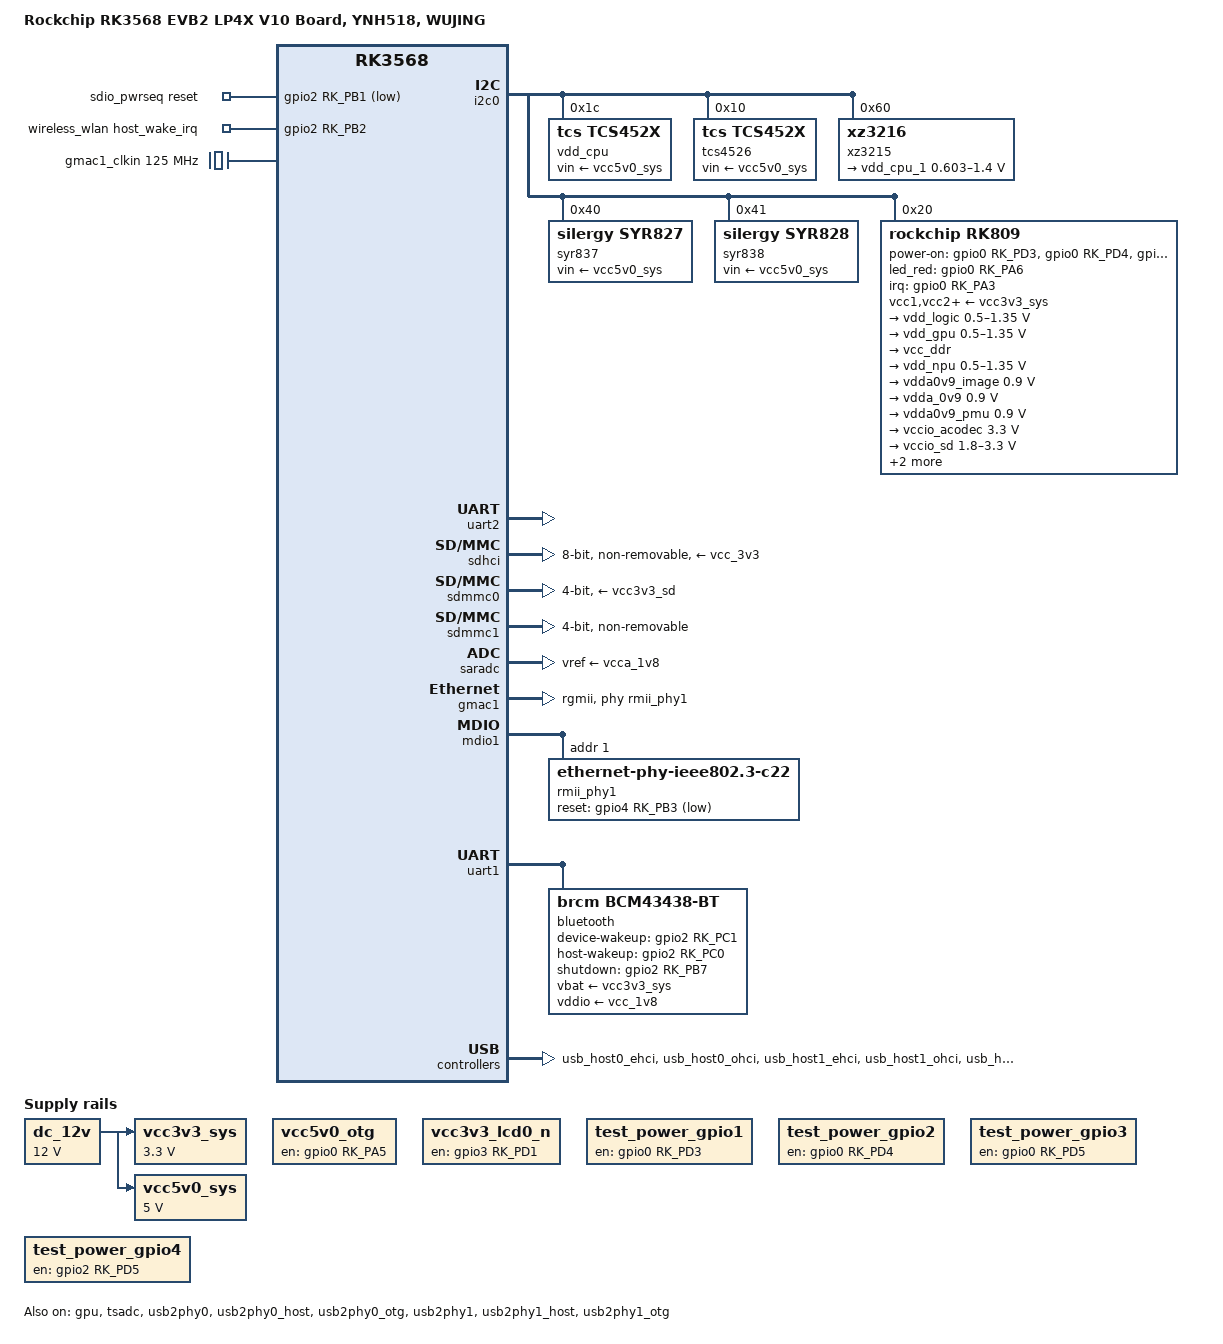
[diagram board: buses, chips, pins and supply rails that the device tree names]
// SPDX-License-Identifier: (GPL-2.0+ OR MIT)

/dts-v1/;
#include <dt-bindings/gpio/gpio.h>
#include <dt-bindings/leds/common.h>
#include <dt-bindings/pinctrl/rockchip.h>
#ifdef DTS_NO_LEGACY
#include <dt-bindings/soc/rockchip,vop2.h>
#else
#include <dt-bindings/display/rockchip_vop.h>
#endif
#include "rk3568.dtsi"

/ {
	compatible = "radxa,rk3568-evb2-lp4x-v10,wujing", "rockchip,rk3568";
	serial-number = "868777053653808";
	model = "Rockchip RK3568 EVB2 LP4X V10 Board, YNH518, WUJING";
	chosen {
		bootargs = "earlycon=uart8250,mmio32,0xfe660000 console=ttyFIQ0 coherent_pool=1m";
		stdout-path = "serial2:115200n8";
	};
	aliases {
		ethernet0 = &gmac1;
		mmc0 = &sdhci;
		mmc1 = &sdmmc0;
		mmc2 = &sdmmc1;
	};
	dc_12v: dc-12v {
		compatible = "regulator-fixed";
		regulator-name = "dc_12v";
		regulator-always-on;
		regulator-boot-on;
		regulator-min-microvolt = <0xb71b00>;
		regulator-max-microvolt = <0xb71b00>;
	};
	vcc3v3_sys: vcc3v3-sys {
		compatible = "regulator-fixed";
		regulator-name = "vcc3v3_sys";
		regulator-always-on;
		regulator-boot-on;
		regulator-min-microvolt = <0x325aa0>;
		regulator-max-microvolt = <0x325aa0>;
		vin-supply = <&dc_12v>;
	};
	vcc5v0_sys:vcc5v0-sys {
		compatible = "regulator-fixed";
		regulator-name = "vcc5v0_sys";
		regulator-always-on;
		regulator-boot-on;
		regulator-min-microvolt = <0x4c4b40>;
		regulator-max-microvolt = <0x4c4b40>;
		vin-supply = <&dc_12v>;
	};
	vcc5v0_otg: vcc5v0-otg-regulator {
		compatible = "regulator-fixed";
		enable-active-high;
		gpio = <&gpio0 RK_PA5 GPIO_ACTIVE_HIGH>;
		pinctrl-names = "default";
		pinctrl-0 = <&vcc5v0_otg_en>;
		regulator-name = "vcc5v0_otg";
	};
	vcc3v3_lcd0_n: vcc3v3-lcd0-n {
		compatible = "regulator-fixed";
		regulator-name = "vcc3v3_lcd0_n";
		regulator-boot-on;
		gpio = <&gpio3 RK_PD1 GPIO_ACTIVE_HIGH>;
		enable-active-high;

		regulator-state-mem {
			regulator-off-in-suspend;
		};
	};
	//这里可能需要转换,测试
	
	test_power_gpio1: test-power-gpio1 {
		compatible = "regulator-fixed";
		regulator-name = "test_power_gpio1";
		regulator-boot-on;
		regulator-always-on;
		pinctrl-0 = <&test_power1>;
		gpios = <&gpio0 RK_PD3 GPIO_ACTIVE_HIGH>;
		enable-active-high;

	};
	//这里可能需要转换,测试
	
	test_power_gpio2: test-power-gpio2 {
		compatible = "regulator-fixed";
		regulator-name = "test_power_gpio2";
		regulator-boot-on;
		regulator-always-on;
		pinctrl-0 = <&test_power2>;
		gpio = <&gpio0 RK_PD4 GPIO_ACTIVE_HIGH>;
		enable-active-high;
	};
	//这里可能需要转换,测试
	
	test_power_gpio3: test-power-gpio3 {
		compatible = "regulator-fixed";
		regulator-name = "test_power_gpio3";
		regulator-boot-on;
		regulator-always-on;
		pinctrl-0 = <&test_power3>;
		gpio = <&gpio0 RK_PD5 GPIO_ACTIVE_HIGH>;
		enable-active-high;
	};
	//这里可能需要转换,测试
	test_power_gpio4: test-power-gpio4 {
		compatible = "regulator-fixed";
		regulator-name = "test_power_gpio4";
		regulator-boot-on;
		regulator-always-on;
		pinctrl-0 = <&test_power4>;
		gpio = <&gpio2 RK_PD5 GPIO_ACTIVE_HIGH>;
		enable-active-high;
	};
	//这里可能需要转换
	//power-on-gpios = <&gpio0 RK_PD3 GPIO_ACTIVE_HIGH &gpio0 RK_PD4 GPIO_ACTIVE_HIGH &gpio0 RK_PD5 GPIO_ACTIVE_HIGH &gpio2 RK_PD5 GPIO_ACTIVE_HIGH>;
	//led_red_gpio = <&gpio0 RK_PA6 GPIO_ACTIVE_HIGH>;
	
	sdio_pwrseq: sdio-pwrseq {
		compatible = "mmc-pwrseq-simple";
		clocks = <&rk809 0x01>;
		clock-names = "ext_clock";
		pinctrl-names = "default";
		pinctrl-0 = <&wifi_enable_h>;
		post-power-on-delay-ms = <0xc8>;
		reset-gpios = <&gpio2 RK_PB1 GPIO_ACTIVE_LOW>;
	};

	wireless_wlan: wireless-wlan {
		compatible = "wlan-platdata";
		rockchip,grf = <&grf>;
		wifi_chip_type = "ap6398s";
		status = "okay";
		pinctrl-names = "default";
		pinctrl-0 = <&wifi_host_wake_irq>;
		WIFI,host_wake_irq = <&gpio2 RK_PB2 GPIO_ACTIVE_HIGH>;
	};
	/*
	wireless_bluetooth: wireless-bluetooth {
		compatible = "bluetooth-platdata";
		clocks = <&rk809 0x01>;
		clock-names = "ext_clock";
		uart_rts_gpios = <&gpio2 RK_PB5 GPIO_ACTIVE_LOW>;
		pinctrl-names = "default\0rts_gpio";
		pinctrl-0 = <&uart1m0_rtsn>;
		pinctrl-1 = <&uart1_gpios>;
		BT,reset_gpio = <&gpio2 RK_PB7 GPIO_ACTIVE_HIGH>;
		BT,wake_gpio = <&gpio2 RK_PC1 GPIO_ACTIVE_HIGH>;
		BT,wake_host_irq = <&gpio2 RK_PC0 GPIO_ACTIVE_HIGH>;
		status = "okay";
	};*/
	gmac1_clkin: external-gmac1-clock {
		compatible = "fixed-clock";
		clock-frequency = <125000000>;
		clock-output-names = "gmac1_clkin";
		#clock-cells = <0>;
	};
	gmac1_xpcsclk: xpcs-gmac1-clock {
		compatible = "fixed-clock";
		clock-frequency = <125000000>;
		clock-output-names = "clk_gmac1_xpcs_mii";
		#clock-cells = <0>;
	};
};
&pinctrl {
	usb {
		vcc5v0_otg_en: vcc5v0-otg-en {
			rockchip,pins = <0 RK_PA5 RK_FUNC_GPIO &pcfg_pull_none>;
		};
	};
	sdio-pwrseq {
		wifi_enable_h:wifi-enable-h {
			rockchip,pins = <2 RK_PB1 RK_FUNC_GPIO &pcfg_pull_none>;
		};
	};
	wireless-wlan {
		wifi_host_wake_irq: wifi-host-wake-irq {
			rockchip,pins = <2 RK_PB2 RK_FUNC_GPIO &pcfg_pull_down>;
		};
	};
	wireless-bluetooth {
		uart8_gpios: uart8-gpios {
			rockchip,pins = <2 RK_PB1 RK_FUNC_GPIO &pcfg_pull_none>;
		};
		uart1_gpios: uart1-gpios {
			rockchip,pins = <2 RK_PB5 RK_FUNC_GPIO &pcfg_pull_none>;
		};
	};
	bt {
		bt_enable: bt-enable {
			rockchip,pins = <2 RK_PB7 RK_FUNC_GPIO &pcfg_pull_none>;
		};

		bt_host_wake: bt-host-wake {
			rockchip,pins = <2 RK_PC0 RK_FUNC_GPIO &pcfg_pull_down>;
		};

		bt_wake: bt-wake {
			rockchip,pins = <2 RK_PC1 RK_FUNC_GPIO &pcfg_pull_none>;
		};
	};
	pmic {
		pmic_int: pmic_int {
			rockchip,pins = <0 RK_PA3 RK_FUNC_GPIO &pcfg_pull_up>;
		};
		soc_slppin_gpio: soc_slppin_gpio {
			rockchip,pins = <0 RK_PA2 0x00 &pcfg_output_low>;
		};
		soc_slppin_slp: soc_slppin_slp {
			rockchip,pins = <0 RK_PA2 0x01 &pcfg_pull_none>;
		};
		soc_slppin_rst: soc_slppin_rst {
			rockchip,pins = <0 RK_PA2 0x02 &pcfg_pull_none>;
		};
	};
	ethernet {
		eth_phy_rst: eth_phy_rst {
			rockchip,pins = <4 RK_PB3 RK_FUNC_GPIO &pcfg_pull_none>;
		};
	};
	//power-on-gpios = <&gpio0 RK_PD3 GPIO_ACTIVE_HIGH &gpio0 RK_PD4 GPIO_ACTIVE_HIGH &gpio0 RK_PD5 GPIO_ACTIVE_HIGH &gpio2 RK_PD5 GPIO_ACTIVE_HIGH>;
	power_on_test: power-on-test {
		test_power1: test-power1 {
			rockchip,pins = <0 RK_PD3 RK_FUNC_GPIO &pcfg_pull_none>;
		};
		test_power2: test-power2 {
			rockchip,pins = <0 RK_PD4 RK_FUNC_GPIO &pcfg_pull_none>;
		};
		test_power3: test-power3 {
			rockchip,pins = <0 RK_PD5 RK_FUNC_GPIO &pcfg_pull_none>;
		};
		test_power4: test-power4 {
			rockchip,pins = <2 RK_PD5 RK_FUNC_GPIO &pcfg_pull_none>;
		};
	};
};

&cpu0 {
	cpu-supply = <&vdd_cpu>;
};

&cpu1 {
	cpu-supply = <&vdd_cpu>;
};

&cpu2 {
	cpu-supply = <&vdd_cpu>;
};

&cpu3 {
	cpu-supply = <&vdd_cpu>;
};

&display_subsystem {
	status = "disabled";
};
&gpu {
	mali-supply = <&vdd_gpu>;
	status = "okay";
};
&i2c0 {
	status = "okay";
		vdd_cpu: tcs4525: tcs4525@1c {
			compatible = "tcs,tcs452x";
			reg = <0x1c>;
			vin-supply = <&vcc5v0_sys>;
			regulator-compatible = "fan53555-reg";
			regulator-name = "vdd_cpu";
			regulator-min-microvolt = <0xadf34>;
			regulator-max-microvolt = <0x1535b0>;
			regulator-init-microvolt = <0xdbba0>;
			regulator-ramp-delay = <0x8fc>;
			fcs,suspend-voltage-selector = <0x01>;
			regulator-boot-on;
			regulator-always-on;

			regulator-state-mem {
				regulator-off-in-suspend;
			};
		};

		tcs4526: tcs4526@10 {
			compatible = "tcs,tcs452x";
			reg = <0x10>;
			vin-supply = <&vcc5v0_sys>;
			regulator-compatible = "fan53555-reg";
			regulator-name = "vdd_cpu";
			regulator-min-microvolt = <0xadf34>;
			regulator-max-microvolt = <0x1535b0>;
			regulator-init-microvolt = <0xdbba0>;
			regulator-ramp-delay = <0x8fc>;
			fcs,suspend-voltage-selector = <0x00>;
			regulator-initial-mode = <0x02>;
			regulator-boot-on;
			regulator-always-on;

			regulator-state-mem {
				regulator-on-in-suspend;
				regulator-suspend-microvolt = <0x10c8e0>;
				regulator-changeable-in-suspend;
			};
		};

		xz3215: xz3215@60 {
			compatible = "xz3216";
			reg = <0x60>;

			regulators {
				#address-cells = <0x01>;
				#size-cells = <0x00>;

				vdd_cpu_1: regulator@0 {
					reg = <0x00>;
					vin-supply = <&vcc5v0_sys>;
					regulator-compatible = "xz_dcdc1";
					regulator-name = "vdd_cpu";
					regulator-min-microvolt = <0x93378>;
					regulator-max-microvolt = <0x155cc0>;
					regulator-ramp-delay = <0x3e8>;
					regulator-always-on;
					regulator-boot-on;
					fcs,suspend-voltage-selector = <0x00>;
					regulator-initial-state = <0x03>;

					regulator-state-mem {
						regulator-on-in-suspend;
						regulator-suspend-microvolt = <0x10c8e0>;
						regulator-changeable-in-suspend;
					};
				};
			};
		};

		syr837: syr837@40 {
			compatible = "silergy,syr827";
			reg = <0x40>;
			vin-supply = <&vcc5v0_sys>;
			regulator-compatible = "fan53555-reg";
			regulator-name = "vdd_cpu";
			regulator-min-microvolt = <0xadf34>;
			regulator-max-microvolt = <0x16e360>;
			regulator-init-microvolt = <0xdbba0>;
			regulator-ramp-delay = <0x3e8>;
			fcs,suspend-voltage-selector = <0x00>;
			regulator-initial-state = <0x03>;
			regulator-boot-on;
			regulator-always-on;

			regulator-state-mem {
				regulator-on-in-suspend;
				regulator-suspend-microvolt = <0x10c8e0>;
				regulator-changeable-in-suspend;
			};
		};

		syr838: syr838@41 {
			compatible = "silergy,syr828";
			reg = <0x41>;
			vin-supply = <&vcc5v0_sys>;
			regulator-compatible = "fan53555-reg";
			regulator-name = "vdd_cpu";
			regulator-min-microvolt = <0xadf34>;
			regulator-max-microvolt = <0x16e360>;
			regulator-init-microvolt = <0xdbba0>;
			regulator-ramp-delay = <0x3e8>;
			fcs,suspend-voltage-selector = <0x00>;
			regulator-initial-state = <0x03>;
			regulator-boot-on;
			regulator-always-on;

			regulator-state-mem {
				regulator-on-in-suspend;
				regulator-suspend-microvolt = <0x10c8e0>;
				regulator-changeable-in-suspend;
			};
		};

		rk809: pmic@20 {
			compatible = "rockchip,rk809";
			reg = <0x20>;
			interrupt-parent = <&gpio0>;
			interrupts = <RK_PA3 IRQ_TYPE_LEVEL_LOW>;
			pinctrl-names = "default", "pmic-sleep", "pmic-power-off", "pmic-reset";
			pinctrl-0 = <&pmic_int>;
			pinctrl-1 = <&soc_slppin_slp &rk817_slppin_slp>;
			pinctrl-2 = <&soc_slppin_gpio &rk817_slppin_pwrdn>;
			pinctrl-3 = <&soc_slppin_gpio &rk817_slppin_rst>;
			rockchip,system-power-controller;
			wakeup-source;
			#clock-cells = <0x01>;
			clock-output-names = "rk808-clkout1", "rk808-clkout2";
			pmic-reset-func = <0x00>;
			not-save-power-en = <0x01>;
			vcc1-supply = <&vcc3v3_sys>;
			vcc2-supply = <&vcc3v3_sys>;
			vcc3-supply = <&vcc3v3_sys>;
			vcc4-supply = <&vcc3v3_sys>;
			vcc5-supply = <&vcc3v3_sys>;
			vcc6-supply = <&vcc3v3_sys>;
			vcc7-supply = <&vcc3v3_sys>;
			vcc8-supply = <&vcc3v3_sys>;
			vcc9-supply = <&vcc3v3_sys>;
			//这里gpio可能要转换成电源来处理,因为兼容问题,新设备树不这么写了
			power-on-gpios = <&gpio0 RK_PD3 GPIO_ACTIVE_HIGH &gpio0 RK_PD4 GPIO_ACTIVE_HIGH &gpio0 RK_PD5 GPIO_ACTIVE_HIGH &gpio2 RK_PD5 GPIO_ACTIVE_HIGH>;
			led_red_gpio = <&gpio0 RK_PA6 GPIO_ACTIVE_HIGH>;

			pwrkey {
				status = "okay";
			};

			pinctrl_rk8xx {
				gpio-controller;
				#gpio-cells = <0x02>;

				rk817_slppin_null: rk817_slppin_null {
					pins = "gpio_slp";
					function = "pin_fun0";
				};

				rk817_slppin_slp: rk817_slppin_slp {
					pins = "gpio_slp";
					function = "pin_fun1";
				};

				rk817_slppin_pwrdn: rk817_slppin_pwrdn {
					pins = "gpio_slp";
					function = "pin_fun2";
				};

				rk817_slppin_rst: rk817_slppin_rst {
					pins = "gpio_slp";
					function = "pin_fun3";
				};
			};

			regulators {

				vdd_logic: DCDC_REG1 {
					regulator-always-on;
					regulator-boot-on;
					regulator-min-microvolt = <0x7a120>;
					regulator-max-microvolt = <0x149970>;
					regulator-init-microvolt = <0xdbba0>;
					regulator-ramp-delay = <0x1771>;
					regulator-initial-mode = <0x02>;
					regulator-name = "vdd_logic";

					regulator-state-mem {
						regulator-off-in-suspend;
					};
				};

				vdd_gpu: DCDC_REG2 {
					regulator-always-on;
					regulator-boot-on;
					regulator-min-microvolt = <0x7a120>;
					regulator-max-microvolt = <0x149970>;
					regulator-init-microvolt = <0xdbba0>;
					regulator-ramp-delay = <0x1771>;
					regulator-initial-mode = <0x02>;
					regulator-name = "vdd_gpu";

					regulator-state-mem {
						regulator-off-in-suspend;
					};
				};

				vcc_ddr: DCDC_REG3 {
					regulator-always-on;
					regulator-boot-on;
					regulator-initial-mode = <0x02>;
					regulator-name = "vcc_ddr";

					regulator-state-mem {
						regulator-on-in-suspend;
					};
				};

				vdd_npu: DCDC_REG4 {
					regulator-always-on;
					regulator-boot-on;
					regulator-min-microvolt = <0x7a120>;
					regulator-max-microvolt = <0x149970>;
					regulator-init-microvolt = <0xdbba0>;
					regulator-ramp-delay = <0x1771>;
					regulator-initial-mode = <0x02>;
					regulator-name = "vdd_npu";

					regulator-state-mem {
						regulator-off-in-suspend;
					};
				};

				vdda0v9_image: LDO_REG1 {
					regulator-boot-on;
					regulator-always-on;
					regulator-min-microvolt = <0xdbba0>;
					regulator-max-microvolt = <0xdbba0>;
					regulator-name = "vdda0v9_image";

					regulator-state-mem {
						regulator-off-in-suspend;
					};
				};

				vdda_0v9: LDO_REG2 {
					regulator-always-on;
					regulator-boot-on;
					regulator-min-microvolt = <0xdbba0>;
					regulator-max-microvolt = <0xdbba0>;
					regulator-name = "vdda_0v9";

					regulator-state-mem {
						regulator-off-in-suspend;
					};
				};

				vdda0v9_pmu: LDO_REG3 {
					regulator-always-on;
					regulator-boot-on;
					regulator-min-microvolt = <0xdbba0>;
					regulator-max-microvolt = <0xdbba0>;
					regulator-name = "vdda0v9_pmu";

					regulator-state-mem {
						regulator-on-in-suspend;
						regulator-suspend-microvolt = <0xdbba0>;
					};
				};

				vccio_acodec: LDO_REG4 {
					regulator-always-on;
					regulator-boot-on;
					regulator-min-microvolt = <0x325aa0>;
					regulator-max-microvolt = <0x325aa0>;
					regulator-name = "vccio_acodec";

					regulator-state-mem {
						regulator-off-in-suspend;
					};
				};

				vccio_sd: LDO_REG5 {
					regulator-always-on;
					regulator-boot-on;
					regulator-min-microvolt = <0x1b7740>;
					regulator-max-microvolt = <0x325aa0>;
					regulator-name = "vccio_sd";

					regulator-state-mem {
						regulator-off-in-suspend;
					};
				};

				vcc3v3_pmu: LDO_REG6 {
					regulator-always-on;
					regulator-boot-on;
					regulator-min-microvolt = <0x325aa0>;
					regulator-max-microvolt = <0x325aa0>;
					regulator-name = "vcc3v3_pmu";

					regulator-state-mem {
						regulator-on-in-suspend;
						regulator-suspend-microvolt = <0x325aa0>;
					};
				};

				vcca_1v8: LDO_REG7 {
					regulator-always-on;
					regulator-boot-on;
					regulator-min-microvolt = <0x1b7740>;
					regulator-max-microvolt = <0x1b7740>;
					regulator-name = "vcca_1v8";

					regulator-state-mem {
						regulator-off-in-suspend;
					};
				};

				vcca1v8_pmu: LDO_REG8 {
					regulator-always-on;
					regulator-boot-on;
					regulator-min-microvolt = <0x1b7740>;
					regulator-max-microvolt = <0x1b7740>;
					regulator-name = "vcca1v8_pmu";

					regulator-state-mem {
						regulator-on-in-suspend;
						regulator-suspend-microvolt = <0x1b7740>;
					};
				};

				vcca1v8_image: LDO_REG9 {
					regulator-always-on;
					regulator-boot-on;
					regulator-min-microvolt = <0x1b7740>;
					regulator-max-microvolt = <0x1b7740>;
					regulator-name = "vcca1v8_image";

					regulator-state-mem {
						regulator-off-in-suspend;
					};
				};

				vcc_1v8: DCDC_REG5 {
					regulator-always-on;
					regulator-boot-on;
					regulator-min-microvolt = <0x1b7740>;
					regulator-max-microvolt = <0x1b7740>;
					regulator-name = "vcc_1v8";

					regulator-state-mem {
						regulator-off-in-suspend;
					};
				};

				vcc_3v3: SWITCH_REG1 {
					regulator-always-on;
					regulator-boot-on;
					regulator-name = "vcc_3v3";

					regulator-state-mem {
						regulator-off-in-suspend;
					};
				};

				vcc3v3_sd:SWITCH_REG2 {
					regulator-always-on;
					regulator-boot-on;
					regulator-name = "vcc3v3_sd";

					regulator-state-mem {
						regulator-off-in-suspend;
					};
				};
			};
			//可能要暂时禁用
			rk809_codec: codec {
				#sound-dai-cells = <0x00>;
				compatible = "rockchip,rk809-codec", "rockchip,rk817-codec";
				clocks = <&cru SRST_P_GRF_VCCIO567>;
				clock-names = "mclk";
				assigned-clocks = <&cru SRST_P_GRF_VCCIO567 &cru SRST_T_WDT_NS>;
				assigned-clock-rates = <0xbb8000>;
				assigned-clock-parents = <&cru I2S1_MCLKOUT_TX &cru I2S1_MCLKOUT_TX>;
				pinctrl-names = "default";
				pinctrl-0 = <&i2s1m0_mclk>;
				hp-ctl-gpios = <&gpio3 RK_PD6 GPIO_ACTIVE_HIGH>;
				hp-mute-delay-ms = <30>;
				hp-volume = <0x14>;
				mic-gain = <0x99>;
				mic-in-differential;
				status = "okay";
				spk-ctl-gpios = <&gpio2 RK_PD6 GPIO_ACTIVE_HIGH>;
			};
		};
};
&pmu_io_domains {
	pmuio2-supply = <&vcc3v3_pmu>;
	vccio1-supply = <&vccio_acodec>;
	vccio3-supply = <&vccio_sd>;
	vccio4-supply = <&vcc_1v8>;
	vccio5-supply = <&vcc_3v3>;
	vccio6-supply = <&vcc_3v3>;
	vccio7-supply = <&vcc_3v3>;
	status = "okay";
};
//debug ttl
&uart2 {
	status = "okay";
};
&sdhci {
	bus-width = <8>;
	max-frequency = <200000000>;
	non-removable;
	supports-emmc;
	pinctrl-names = "default";
	//pinctrl-0 = <&emmc_bus8 &emmc_clk &emmc_cmd &emmc_datastrobe>;
	//可能需要禁用
	//pinctrl-0 = <&emmc_bus8 &emmc_clk &emmc_cmd &emmc_datastrobe>;
	vmmc-supply = <&vcc_3v3>;
	vqmmc-supply = <&vcc_1v8>;
	status = "okay";
};
&sdmmc0 {
	status = "okay";
	supports-sd;
	max-frequency = <50000000>;
	bus-width = <0x04>;
	cap-mmc-highspeed;
	cap-sd-highspeed;
	disable-wp;
	vmmc-supply = <&vcc3v3_sd>;
	vqmmc-supply = <&vccio_sd>;
	pinctrl-names = "default";
	pinctrl-0 = <&sdmmc0_bus4 &sdmmc0_clk &sdmmc0_cmd &sdmmc0_det>;
};
&sdmmc1{
	status = "okay";
	status = "okay";
	supports-sdio;
	max-frequency = <50000000>;
	bus-width = <0x04>;
	disable-wp;
	cap-sd-highspeed;
	cap-sdio-irq;
	keep-power-in-suspend;
	mmc-pwrseq = <&sdio_pwrseq>;
	non-removable;
	pinctrl-names = "default";
	pinctrl-0 = <&sdmmc1_bus4 &sdmmc1_cmd &sdmmc1_clk>;
};
&tsadc {
	rockchip,hw-tshut-mode = <1>;
	rockchip,hw-tshut-polarity = <0>;
	status = "okay";
};
&saradc {
	vref-supply = <&vcca_1v8>;
	status = "okay";
};
&gmac1 {
	local-mac-address = [42 3e 7c c9 3d 04];
	status = "okay";
	phy-mode = "rgmii";
	clock_in_out = "output";
	//snps,reset-gpio = <&gpio4 RK_PB3 GPIO_ACTIVE_LOW>;
	//snps,reset-active-low;
	//snps,reset-delays-us = <0x00 20000 100000>;
	assigned-clocks = <&cru SCLK_GMAC1_RX_TX &cru SCLK_GMAC1>;
	assigned-clock-parents = <&cru SCLK_GMAC1_RMII_SPEED>;
	pinctrl-names = "default";
	pinctrl-0 = <&gmac1m1_miim &gmac1m1_clkinout &gmac1m1_tx_bus2 &gmac1m1_rx_bus2 &gmac1m1_rx_er>;
	phy-handle = <&rmii_phy1>;
	assigned-clock-rates = <0x00 50000000>;
};
&mdio1 {
	rmii_phy1: rgmii_phy1: phy@0 {
		compatible = "ethernet-phy-ieee802.3-c22";
		reg = <0x01>;
		/*新写法,注意不要写重复了*/
		pinctrl-0 = <&eth_phy_rst>;
		reset-assert-us = <20000>;
		reset-deassert-us = <100000>;
		reset-gpios = <&gpio4 RK_PB3 GPIO_ACTIVE_LOW>;
	};
};
/*
	wireless_bluetooth: wireless-bluetooth {
		compatible = "bluetooth-platdata";
		clocks = <&rk809 0x01>;
		clock-names = "ext_clock";
		uart_rts_gpios = <&gpio2 RK_PB5 GPIO_ACTIVE_LOW>;
		pinctrl-names = "default\0rts_gpio";
		pinctrl-0 = <&uart1m0_rtsn>;
		pinctrl-1 = <&uart1_gpios>;
		BT,reset_gpio = <&gpio2 RK_PB7 GPIO_ACTIVE_HIGH>;
		BT,wake_gpio = <&gpio2 RK_PC1 GPIO_ACTIVE_HIGH>;
		BT,wake_host_irq = <&gpio2 RK_PC0 GPIO_ACTIVE_HIGH>;
		status = "okay";
	};*/
//蓝牙新写法
&uart1 {
	pinctrl-names = "default";
	pinctrl-0 = <&uart1m0_xfer &uart1m0_ctsn &uart1m0_rtsn>;
	uart-has-rtscts;
	status = "okay";

	bluetooth {
		compatible = "brcm,bcm43438-bt";//不知道芯片类型
		clocks = <&rk809 1>;
		clock-names = "lpo";
		device-wakeup-gpios = <&gpio2 RK_PC1 GPIO_ACTIVE_HIGH>;
		host-wakeup-gpios = <&gpio2 RK_PC0 GPIO_ACTIVE_HIGH>;
		shutdown-gpios = <&gpio2 RK_PB7 GPIO_ACTIVE_HIGH>;
		pinctrl-names = "default";
		pinctrl-0 = <&bt_host_wake &bt_wake &bt_enable>;
		vbat-supply = <&vcc3v3_sys>;
		vddio-supply = <&vcc_1v8>;
		/* vddio comes from regulator on module, use IO bank voltage instead */
	};
};

&usb_host0_ehci {
	status = "okay";
};

&usb_host0_ohci {
	status = "okay";
};

&usb_host1_ehci {
	status = "okay";
};

&usb_host1_ohci {
	status = "okay";
};

&usb2phy0 {
	status = "okay";
};

&usb2phy0_host {
	phy-supply = <&vcc5v0_otg>;
	status = "okay";
};

&usb2phy0_otg {
	phy-supply = <&vcc5v0_otg>;
	status = "okay";
};

&usb2phy1 {
	status = "okay";
};

&usb2phy1_host {
	status = "okay";
};

&usb2phy1_otg {
	status = "okay";
};

&usb_host0_xhci {
	extcon = <&usb2phy0>;
	status = "okay";
};
&usb_host1_xhci {
	status = "okay";
};
